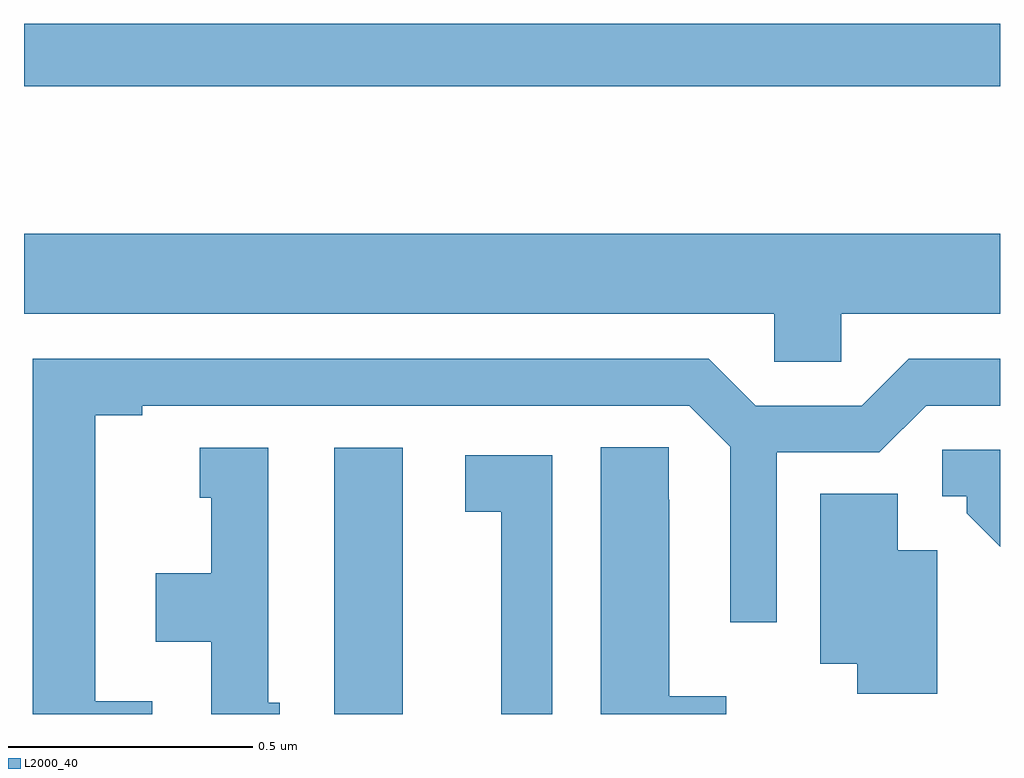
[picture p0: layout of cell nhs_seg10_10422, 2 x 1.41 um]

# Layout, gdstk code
import gdstk
lib = gdstk.Library(unit=1e-6, precision=1e-09)
def R(c, l, rs):  # rectangles x0, y0, x1, y1
    for r in rs: c.add(gdstk.rectangle(r[:2], r[2:], *l))
def P(c, l, *ps):  # polygons
    for p in ps: c.add(gdstk.Polygon(p, *l))
L2000_40 = (2000, 40)

nhs_seg10_10422 = lib.new_cell('nhs_seg10_10422')
R(nhs_seg10_10422, L2000_40, [(242.636,1295.5,242.776,1296.046), (242,1296.786,244,1296.914)])
P(nhs_seg10_10422, L2000_40, [(243.675,1296.32),(244,1296.32),(244,1296.484),(242,1296.484),(242,1296.32),(243.537,1296.32),(243.537,1296.222),(243.675,1296.222)],
  [(242.263,1295.526),(242.146,1295.526),(242.146,1296.112),(242.242,1296.112),(242.242,1296.132),(243.363,1296.132),(243.447,1296.048),(243.447,1295.688),(243.543,1295.688),(243.543,1296.036),(243.753,1296.036),(243.849,1296.132),(244,1296.132),(244,1296.228),(243.813,1296.228),(243.717,1296.132),(243.499,1296.132),(243.403,1296.228),(242.018,1296.228),(242.018,1295.5),(242.263,1295.5)],
  [(243.439,1295.536),(243.322,1295.536),(243.322,1295.939),(243.321,1295.939),(243.321,1296.047),(243.182,1296.047),(243.182,1295.5),(243.439,1295.5)],
  [(242.524,1295.523),(242.5,1295.523),(242.5,1296.046),(242.36,1296.046),(242.36,1295.943),(242.384,1295.943),(242.384,1295.788),(242.27,1295.788),(242.27,1295.648),(242.384,1295.648),(242.384,1295.5),(242.524,1295.5)],
  [(244,1296.042),(243.882,1296.042),(243.882,1295.946),(243.932,1295.946),(243.932,1295.911),(244,1295.843)],
  [(243.082,1296.03),(242.904,1296.03),(242.904,1295.914),(242.978,1295.914),(242.978,1295.5),(243.082,1295.5)],
  [(243.871,1295.836),(243.79,1295.836),(243.79,1295.951),(243.632,1295.951),(243.632,1295.603),(243.707,1295.603),(243.707,1295.542),(243.871,1295.542)])

lib.write_gds('nhs_seg10_10422.gds')
